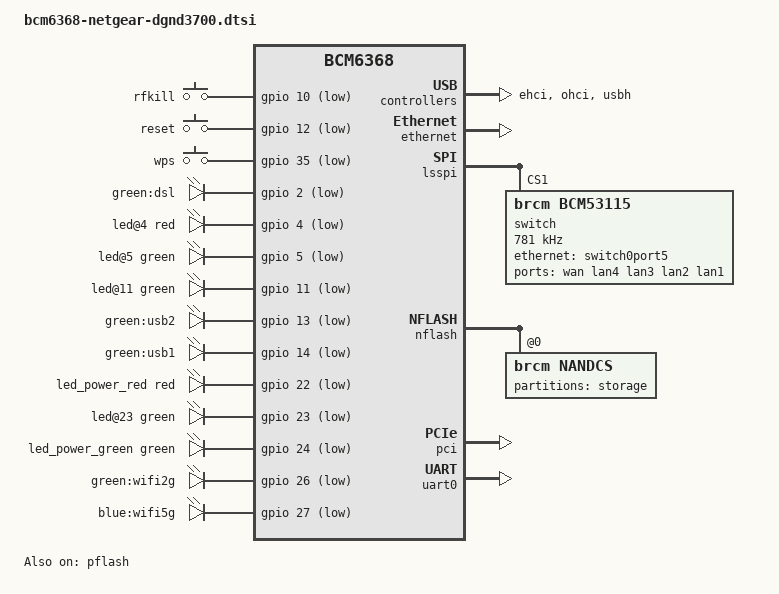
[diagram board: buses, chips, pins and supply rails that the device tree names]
// SPDX-License-Identifier: GPL-2.0-or-later

#include <dt-bindings/leds/common.h>

#include "bcm6368.dtsi"

/ {
	aliases {
		led-boot = &led_power_green;
		led-failsafe = &led_power_red;
		led-running = &led_power_green;
		led-upgrade = &led_power_green;
	};

	keys {
		compatible = "gpio-keys-polled";
		poll-interval = <100>;

		rfkill {
			label = "rfkill";
			gpios = <&gpio 10 GPIO_ACTIVE_LOW>;
			linux,code = <KEY_RFKILL>;
			debounce-interval = <60>;
		};

		reset {
			label = "reset";
			gpios = <&gpio 12 GPIO_ACTIVE_LOW>;
			linux,code = <KEY_RESTART>;
			debounce-interval = <60>;
		};

		wps {
			label = "wps";
			gpios = <&gpio 35 GPIO_ACTIVE_LOW>;
			linux,code = <KEY_WPS_BUTTON>;
			debounce-interval = <60>;
		};
	};

	leds {
		compatible = "gpio-leds";

		led@2 {
			label = "green:dsl";
			gpios = <&gpio 2 GPIO_ACTIVE_LOW>;
		};

		led@4 {
			function = LED_FUNCTION_WAN;
			color = <LED_COLOR_ID_RED>;
			gpios = <&gpio 4 GPIO_ACTIVE_LOW>;
		};

		led@5 {
			function = LED_FUNCTION_WAN;
			color = <LED_COLOR_ID_GREEN>;
			gpios = <&gpio 5 GPIO_ACTIVE_LOW>;
		};

		led@11 {
			function = LED_FUNCTION_WPS;
			color = <LED_COLOR_ID_GREEN>;
			gpios = <&gpio 11 GPIO_ACTIVE_LOW>;
		};

		led@13 {
			/* Front USB port */
			label = "green:usb2";
			gpios = <&gpio 13 GPIO_ACTIVE_LOW>;
		};

		led@14 {
			/* Back USB port */
			label = "green:usb1";
			gpios = <&gpio 14 GPIO_ACTIVE_LOW>;
		};

		led_power_red: led@22 {
			function = LED_FUNCTION_POWER;
			color = <LED_COLOR_ID_RED>;
			gpios = <&gpio 22 GPIO_ACTIVE_LOW>;
			panic-indicator;
		};

		led@23 {
			function = LED_FUNCTION_LAN;
			color = <LED_COLOR_ID_GREEN>;
			gpios = <&gpio 23 GPIO_ACTIVE_LOW>;
		};

		led_power_green: led@24 {
			function = LED_FUNCTION_POWER;
			color = <LED_COLOR_ID_GREEN>;
			gpios = <&gpio 24 GPIO_ACTIVE_LOW>;
		};

		led@26 {
			label = "green:wifi2g";
			gpios = <&gpio 26 GPIO_ACTIVE_LOW>;
		};

		led@27 {
			label = "blue:wifi5g";
			gpios = <&gpio 27 GPIO_ACTIVE_LOW>;
		};
	};
};

&ehci {
	status = "okay";
};

&ethernet {
	status = "okay";

	nvmem-cells = <&macaddr_cfe_6a0>;
	nvmem-cell-names = "mac-address";
};

&lsspi {
	status = "okay";

	switch@1 {
		compatible = "brcm,bcm53115";
		reg = <1>;
		spi-max-frequency = <781000>;
		dsa,member = <1 0>;

		ports {
			#address-cells = <1>;
			#size-cells = <0>;

			port@0 {
				reg = <0>;
				label = "wan";
			};

			port@1 {
				reg = <1>;
				label = "lan4";
			};

			port@2 {
				reg = <2>;
				label = "lan3";
			};

			port@3 {
				reg = <3>;
				label = "lan2";
			};

			port@4 {
				reg = <4>;
				label = "lan1";
			};

			port@8 {
				reg = <8>;

				phy-mode = "rgmii";
				ethernet = <&switch0port5>;

				fixed-link {
					speed = <1000>;
					full-duplex;
				};
			};
		};
	};
};

&nflash {
	status = "okay";

	nandcs@0 {
		compatible = "brcm,nandcs";
		reg = <0>;
		nand-ecc-step-size = <512>;
		nand-ecc-strength = <15>;
		nand-on-flash-bbt;
		brcm,nand-oob-sector-size = <64>;

		partitions {
			compatible = "fixed-partitions";
			#address-cells = <1>;
			#size-cells = <1>;

			partition@0 {
				label = "storage";
				reg = <0 0>; /* autodetected size */
			};
		};
	};
};

&ohci {
	status = "okay";
};

&pci {
	status = "okay";
};

&pflash {
	status = "okay";

	partitions {
		compatible = "fixed-partitions";
		#address-cells = <1>;
		#size-cells = <1>;

		partition@0 {
			label = "CFE";
			reg = <0x0000000 0x0020000>;
			read-only;

			nvmem-layout {
				compatible = "fixed-layout";
				#address-cells = <1>;
				#size-cells = <1>;

				macaddr_cfe_6a0: macaddr@6a0 {
					reg = <0x6a0 0x6>;
				};
			};
		};

		partition@20000 {
			compatible = "brcm,bcm963xx-imagetag";
			label = "firmware";
			reg = <0x0020000 0x1e20000>;
		};

		partition@1e40000 {
			label = "board_data";
			reg = <0x1e40000 0x1a0000>;
			read-only;
		};

		partition@1fe0000 {
			label = "nvram";
			reg = <0x1fe0000 0x020000>;
		};
	};
};

&switch0 {
	dsa,member = <0 0>;

	ports {
		switch0port5: port@5 {
			reg = <5>;
			label = "extsw";

			phy-mode = "rgmii";

			fixed-link {
				speed = <1000>;
				full-duplex;
			};
		};
	};
};

&uart0 {
	status = "okay";
};

&usbh {
	status = "okay";
};
